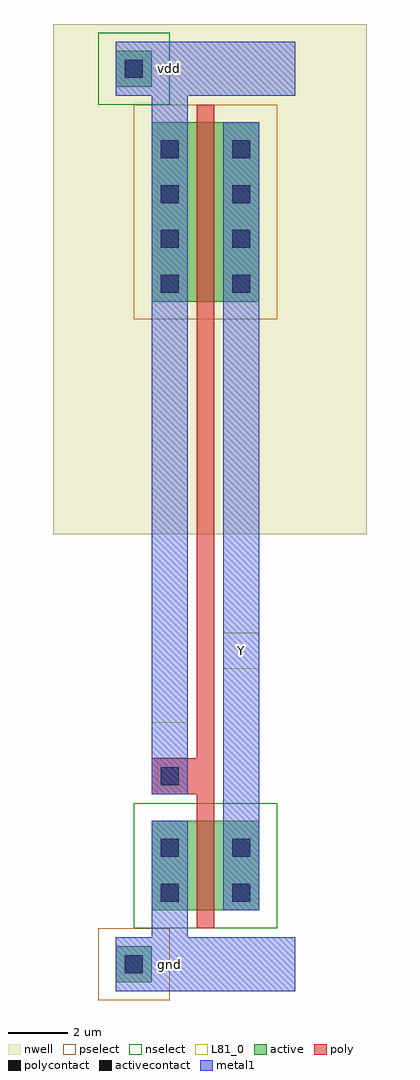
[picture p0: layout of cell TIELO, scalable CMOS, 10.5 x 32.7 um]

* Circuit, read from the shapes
.subckt TIELO Y gnd vdd
M1 Y vdd gnd gnd nfet w=3u l=0.6u
M2 Y vdd vdd vdd pfet w=6u l=0.6u
.ends

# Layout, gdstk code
import gdstk
lib = gdstk.Library(unit=1e-6, precision=1e-09)
def R(c, l, rs):  # rectangles x0, y0, x1, y1
    for r in rs: c.add(gdstk.rectangle(r[:2], r[2:], *l))
def A(c, l, x, y, w, h, nx, ny, dx, dy):  # array of equal rectangles
    R(c, l, [(x+i*dx, y+j*dy, x+i*dx+w, y+j*dy+h) for i in range(nx) for j in range(ny)])
nwell = (42, 0)
active = (43, 0)
pselect = (44, 0)
nselect = (45, 0)
poly = (46, 0)
polycontact = (47, 0)
activecontact = (48, 0)
metal1 = (49, 0)
L81_0 = (81, 0)

tielo = lib.new_cell('TIELO')
R(tielo, nwell, [(-2.7,14.4,7.8,31.5)])
R(tielo, active, [(-0.6,-0.6,0.6,0.6), (0.6,1.8,4.2,4.8), (0.6,22.2,4.2,28.2), (-0.6,29.4,0.6,30.6)])
R(tielo, pselect, [(-1.2,-1.2,1.2,1.2), (0,21.6,4.8,28.8)])
R(tielo, nselect, [(0,1.2,4.8,5.4), (-1.2,28.8,1.2,31.2)])
R(tielo, poly, [(2.1,1.2,2.7,5.7), (0.6,5.7,2.7,6.9), (2.1,6.9,2.7,28.8)])
R(tielo, polycontact, [(0.9,6,1.5,6.6)])
A(tielo, activecontact, 0.9, 22.5, 0.6, 0.6, 1, 4, 0, 1.5)
A(tielo, activecontact, 3.3, 22.5, 0.6, 0.6, 1, 4, 0, 1.5)
R(tielo, activecontact, [(-0.3,-0.3,0.3,0.3), (0.9,2.1,1.5,2.7), (3.3,2.1,3.9,2.7), (0.9,3.6,1.5,4.2), (3.3,3.6,3.9,4.2), (-0.3,29.7,0.3,30.3)])
R(tielo, metal1, [(-0.6,-0.9,5.4,0.9), (0.6,0.9,1.8,4.8), (3,1.8,4.2,28.2), (0.6,5.7,1.8,8.1), (0.6,8.1,1.8,22.2), (0.6,22.2,1.8,29.1), (-0.6,29.1,5.4,30.9)])
R(tielo, L81_0, [(0.6,6.9,1.8,8.1), (3,9.9,4.2,11.1)])
tielo.add(gdstk.Label('Y', (3.6,10.5), layer=109, texttype=0))
tielo.add(gdstk.Label('vdd', (1.2,30), layer=109, texttype=0))
tielo.add(gdstk.Label('gnd', (1.2,0), layer=109, texttype=0))

lib.write_gds('TIELO.gds')
